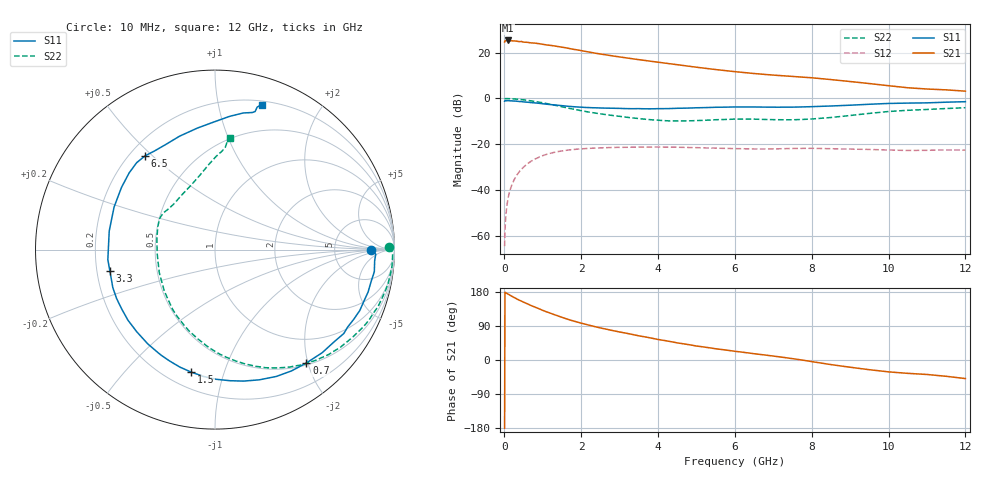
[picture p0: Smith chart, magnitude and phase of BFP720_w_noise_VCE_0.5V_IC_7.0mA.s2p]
! Infineon Technologies  Discrete & RF Semiconductors
! BFP720
! VCE =  0.5 V,  IC =  7.0 mA
! Common Emitter S-Parameters:  Aug 2012
# GHz  S  MA  R  50
!  f  S11  S21  S12  S22
! GHz  MAG  ANG  MAG  ANG  MAG  ANG  MAG  ANG
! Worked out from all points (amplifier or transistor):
!   105 points, 10 MHz to 12 GHz, reference 50 ohm
!   highest |S21| = 25.3 dB at 100 MHz (marker M1)
!   |S21| within 3 dB of that: start of sweep to 1.524 GHz
!   unconditionally stable (mu >= 1): start of sweep to 10.67 MHz; 6.301 GHz to end of sweep
!   at 300 MHz: K = 0.06, MSG = 29.6 dB, |S12| = -34.2 dB
!   at 3.6 GHz: K = 0.58, MSG = 19.0 dB, |S12| = -21.2 dB
!   at 12 GHz: K = 1.08, MAG = 11.1 dB, |S12| = -22.5 dB
!   lowest NFmin = 0.44 dB at 450 MHz
!   S11 on the Smith chart (normalised r, x): 10 MHz: 15, +0; 700 MHz: 0.53, -1.98; 1.5 GHz: 0.30, -0.78; 3.3 GHz: 0.25, -0.09; 6.5 GHz: 0.26, +0.47; 12 GHz: 0.23, +1.35
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0.01  0.8716 -0.0  17.04 -180.0  0.0006 56.0  0.9713 0.8
0.02  0.8959 -1.6  18.01 178.9  0.0013 83.9  0.9903 -1.0
0.1  0.8961 -7.8  18.39 174.0  0.0066 85.2  0.9903 -5.6
0.25  0.8776 -19.4  17.91 165.2  0.0163 79.2  0.9764 -13.8
0.45  0.8565 -33.1  17.45 155.3  0.0287 71.4  0.9435 -24.6
0.5  0.8399 -37.5  16.93 152.7  0.0316 69.5  0.9329 -27.3
0.7  0.8113 -51.1  16.26 143.7  0.0428 61.7  0.8859 -37.8
0.8  0.7992 -57.7  16.09 139.6  0.0476 58.2  0.8617 -42.7
1  0.7664 -71.2  15.15 131.1  0.0565 51.0  0.8042 -52.9
1.3  0.7227 -89.4  13.97 119.8  0.0667 41.5  0.716 -66.8
1.5  0.6954 -101.0  13.11 112.7  0.0716 35.9  0.659 -75.2
1.8  0.6604 -117.1  11.8 102.9  0.077 28.6  0.5835 -87.3
2.1  0.6369 -129.6  10.66 94.8  0.0805 22.6  0.5222 -97.7
2.6  0.6163 -147.4  9.048 82.5  0.0842 14.3  0.4493 -113.6
3.3  0.5977 -168.6  7.405 68.2  0.0863 5.4  0.3788 -134.3
4.1  0.5983 167.4  6.021 52.6  0.0868 -3.1  0.3305 -161.2
5  0.6258 146.3  4.801 36.9  0.0845 -11.0  0.3294 169.6
6.1  0.6514 131.0  3.769 21.8  0.0803 -16.8  0.3537 149.3
6.5  0.6515 126.7  3.497 16.6  0.0793 -18.0  0.3536 144.8
8.5  0.684 98.3  2.578 -12.1  0.0801 -28.2  0.3838 110.1
10.5  0.7914 74.8  1.709 -35.2  0.0733 -35.0  0.5513 85.8
12  0.8494 72.1  1.442 -49.0  0.0746 -39.9  0.6281 82.1
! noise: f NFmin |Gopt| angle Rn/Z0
0.45  0.44  0.4  3  -0.03
1.8  0.52  0.37  23  0.13
2.4  0.57  0.28  50  0.26
5.5  0.71  0.17  49  0.16
10  0.94  0.39  -86  0.2
